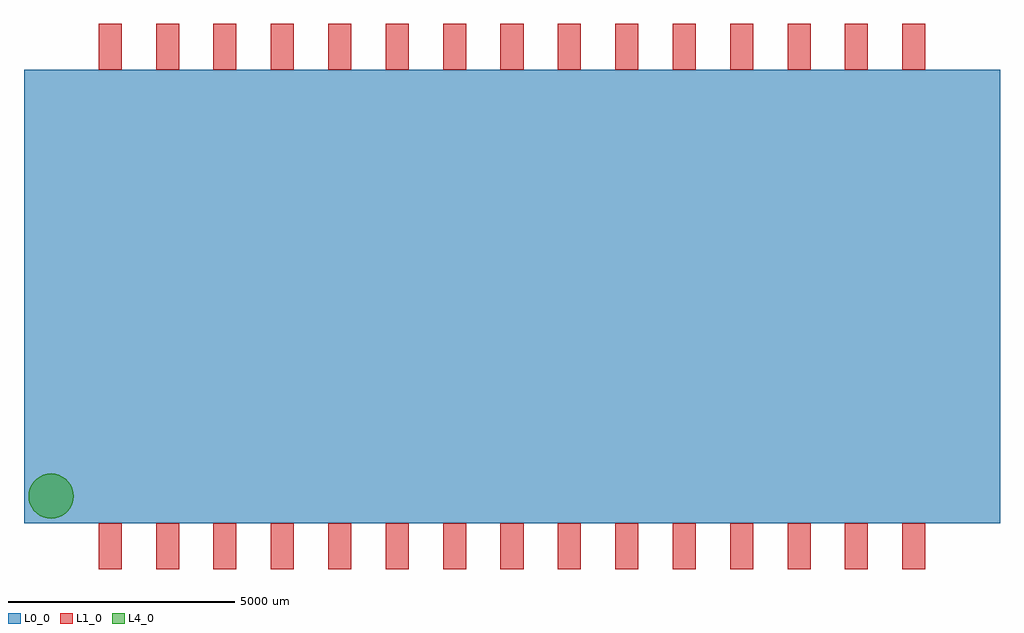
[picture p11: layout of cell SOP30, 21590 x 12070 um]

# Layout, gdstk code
import gdstk
lib = gdstk.Library(unit=1e-6, precision=1e-09)
def R(c, l, rs):  # rectangles x0, y0, x1, y1
    for r in rs: c.add(gdstk.rectangle(r[:2], r[2:], *l))
def A(c, l, x, y, w, h, nx, ny, dx, dy):  # array of equal rectangles
    R(c, l, [(x+i*dx, y+j*dy, x+i*dx+w, y+j*dy+h) for i in range(nx) for j in range(ny)])
def P(c, l, *ps):  # polygons
    for p in ps: c.add(gdstk.Polygon(p, *l))
L0_0 = (0, 0)
L1_0 = (1, 0)
L4_0 = (4, 0)
L99_1 = (99, 1)
L99_2 = (99, 2)
L99_3 = (99, 3)
L99_4 = (99, 4)
L99_5 = (99, 5)
L99_6 = (99, 6)
L99_7 = (99, 7)
L99_8 = (99, 8)
L99_9 = (99, 9)
L99_10 = (99, 10)
L99_11 = (99, 11)
L99_12 = (99, 12)
L99_13 = (99, 13)
L99_14 = (99, 14)
L99_15 = (99, 15)
L99_16 = (99, 16)
L99_17 = (99, 17)
L99_18 = (99, 18)
L99_19 = (99, 19)
L99_20 = (99, 20)
L99_21 = (99, 21)
L99_22 = (99, 22)
L99_23 = (99, 23)
L99_24 = (99, 24)
L99_25 = (99, 25)
L99_26 = (99, 26)
L99_27 = (99, 27)
L99_28 = (99, 28)
L99_29 = (99, 29)
L99_30 = (99, 30)

sop30 = lib.new_cell('SOP30')
R(sop30, L0_0, [(0,0,21590,10030)])
A(sop30, L1_0, 1650, -1020, 510, 1020, 15, 2, 1270, 11050)
P(sop30, L4_0, [(1100,600),(1092.404,513.176),(1069.846,428.99),(1033.013,350),(983.022,278.606),(921.394,216.978),(850,166.987),(771.01,130.154),(686.824,107.596),(600,100),(513.176,107.596),(428.99,130.154),(350,166.987),(278.606,216.978),(216.978,278.606),(166.987,350),(130.154,428.99),(107.596,513.176),(100,600),(107.596,686.824),(130.154,771.01),(166.987,850),(216.978,921.394),(278.606,983.022),(350,1033.013),(428.99,1069.846),(513.176,1092.404),(600,1100),(686.824,1092.404),(771.01,1069.846),(850,1033.013),(921.394,983.022),(983.022,921.394),(1033.013,850),(1069.846,771.01),(1092.404,686.824)])
sop30.add(gdstk.FlexPath([(2160,0),(1650,0)], 0, ends="round", simple_path=True, layer=99, datatype=1))  # L99_1
sop30.add(gdstk.FlexPath([(3430,0),(2920,0)], 0, ends="round", simple_path=True, layer=99, datatype=2))  # L99_2
sop30.add(gdstk.FlexPath([(4700,0),(4190,0)], 0, ends="round", simple_path=True, layer=99, datatype=3))  # L99_3
sop30.add(gdstk.FlexPath([(5970,0),(5460,0)], 0, ends="round", simple_path=True, layer=99, datatype=4))  # L99_4
sop30.add(gdstk.FlexPath([(7240,0),(6730,0)], 0, ends="round", simple_path=True, layer=99, datatype=5))  # L99_5
sop30.add(gdstk.FlexPath([(8510,0),(8000,0)], 0, ends="round", simple_path=True, layer=99, datatype=6))  # L99_6
sop30.add(gdstk.FlexPath([(9780,0),(9270,0)], 0, ends="round", simple_path=True, layer=99, datatype=7))  # L99_7
sop30.add(gdstk.FlexPath([(11050,0),(10540,0)], 0, ends="round", simple_path=True, layer=99, datatype=8))  # L99_8
sop30.add(gdstk.FlexPath([(12320,0),(11810,0)], 0, ends="round", simple_path=True, layer=99, datatype=9))  # L99_9
sop30.add(gdstk.FlexPath([(13590,0),(13080,0)], 0, ends="round", simple_path=True, layer=99, datatype=10))  # L99_10
sop30.add(gdstk.FlexPath([(14860,0),(14350,0)], 0, ends="round", simple_path=True, layer=99, datatype=11))  # L99_11
sop30.add(gdstk.FlexPath([(16130,0),(15620,0)], 0, ends="round", simple_path=True, layer=99, datatype=12))  # L99_12
sop30.add(gdstk.FlexPath([(17400,0),(16890,0)], 0, ends="round", simple_path=True, layer=99, datatype=13))  # L99_13
sop30.add(gdstk.FlexPath([(18670,0),(18160,0)], 0, ends="round", simple_path=True, layer=99, datatype=14))  # L99_14
sop30.add(gdstk.FlexPath([(19940,0),(19430,0)], 0, ends="round", simple_path=True, layer=99, datatype=15))  # L99_15
sop30.add(gdstk.FlexPath([(1650,10030),(2160,10030)], 0, ends="round", simple_path=True, layer=99, datatype=30))  # L99_30
sop30.add(gdstk.FlexPath([(2920,10030),(3430,10030)], 0, ends="round", simple_path=True, layer=99, datatype=29))  # L99_29
sop30.add(gdstk.FlexPath([(4190,10030),(4700,10030)], 0, ends="round", simple_path=True, layer=99, datatype=28))  # L99_28
sop30.add(gdstk.FlexPath([(5460,10030),(5970,10030)], 0, ends="round", simple_path=True, layer=99, datatype=27))  # L99_27
sop30.add(gdstk.FlexPath([(6730,10030),(7240,10030)], 0, ends="round", simple_path=True, layer=99, datatype=26))  # L99_26
sop30.add(gdstk.FlexPath([(8000,10030),(8510,10030)], 0, ends="round", simple_path=True, layer=99, datatype=25))  # L99_25
sop30.add(gdstk.FlexPath([(9270,10030),(9780,10030)], 0, ends="round", simple_path=True, layer=99, datatype=24))  # L99_24
sop30.add(gdstk.FlexPath([(10540,10030),(11050,10030)], 0, ends="round", simple_path=True, layer=99, datatype=23))  # L99_23
sop30.add(gdstk.FlexPath([(11810,10030),(12320,10030)], 0, ends="round", simple_path=True, layer=99, datatype=22))  # L99_22
sop30.add(gdstk.FlexPath([(13080,10030),(13590,10030)], 0, ends="round", simple_path=True, layer=99, datatype=21))  # L99_21
sop30.add(gdstk.FlexPath([(14350,10030),(14860,10030)], 0, ends="round", simple_path=True, layer=99, datatype=20))  # L99_20
sop30.add(gdstk.FlexPath([(15620,10030),(16130,10030)], 0, ends="round", simple_path=True, layer=99, datatype=19))  # L99_19
sop30.add(gdstk.FlexPath([(16890,10030),(17400,10030)], 0, ends="round", simple_path=True, layer=99, datatype=18))  # L99_18
sop30.add(gdstk.FlexPath([(18160,10030),(18670,10030)], 0, ends="round", simple_path=True, layer=99, datatype=17))  # L99_17
sop30.add(gdstk.FlexPath([(19430,10030),(19940,10030)], 0, ends="round", simple_path=True, layer=99, datatype=16))  # L99_16

lib.write_gds('SOP30.gds')
